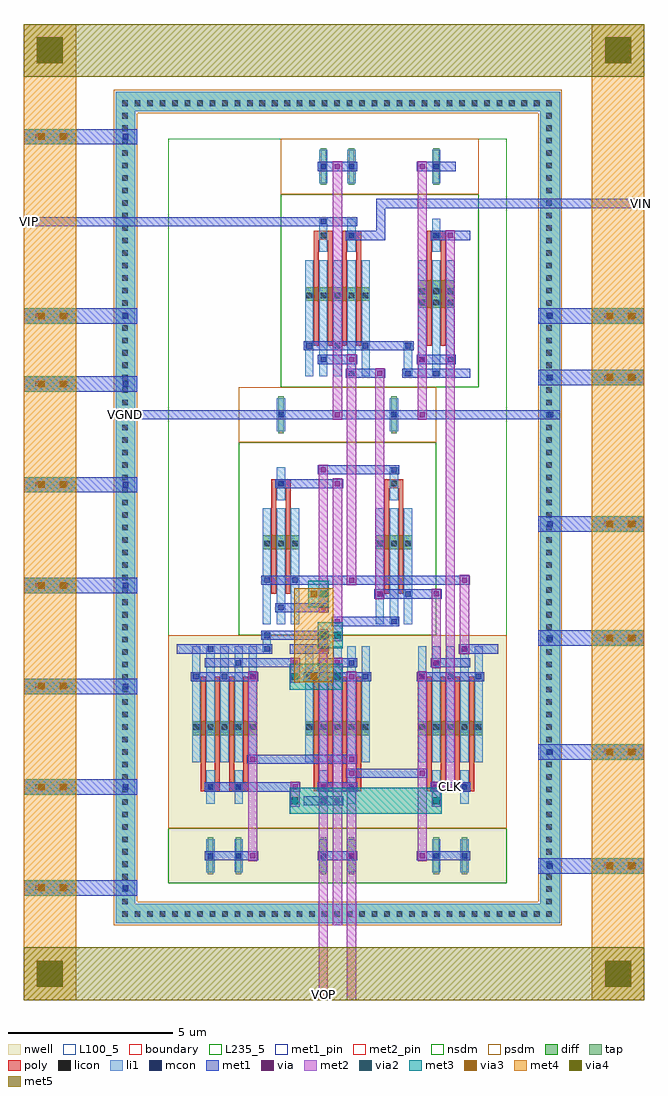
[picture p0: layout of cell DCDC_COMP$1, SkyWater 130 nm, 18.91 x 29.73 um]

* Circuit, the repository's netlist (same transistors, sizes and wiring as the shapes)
.subckt DCDC_COMP VPWR VGND VIN VIP VOP CLK
X0 VCM CLK VGND VGND  sky130_fd_pr__nfet_01v8 w=840000u l=150000u m=2
X1 VMP VIN VCM VGND  sky130_fd_pr__nfet_01v8 w=420000u l=150000u m=2
X2 VMN VIP VCM VGND  sky130_fd_pr__nfet_01v8 w=420000u l=150000u m=2
X3 VOP VON VMP VGND  sky130_fd_pr__nfet_01v8 w=420000u l=150000u m=2
X4 VON VOP VMN VGND  sky130_fd_pr__nfet_01v8 w=420000u l=150000u m=2
X5 VOP VON VPWR VPWR  sky130_fd_pr__pfet_01v8 w=420000u l=150000u m=2
X6 VON VOP VPWR VPWR  sky130_fd_pr__pfet_01v8 w=420000u l=150000u m=2
X7 VOP CLK VPWR VPWR  sky130_fd_pr__pfet_01v8 w=420000u l=150000u m=2
X8 VON CLK VPWR VPWR  sky130_fd_pr__pfet_01v8 w=420000u l=150000u m=2
X9 VMP CLK VPWR VPWR  sky130_fd_pr__pfet_01v8 w=420000u l=150000u m=2
X10 VMN CLK VPWR VPWR sky130_fd_pr__pfet_01v8 w=420000u l=150000u m=2
.ends DCDC_COMP

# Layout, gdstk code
from math import pi, radians
import gdstk
lib = gdstk.Library(unit=1e-6, precision=1e-09)
def R(c, l, rs):  # rectangles x0, y0, x1, y1
    for r in rs: c.add(gdstk.rectangle(r[:2], r[2:], *l))
def A(c, l, x, y, w, h, nx, ny, dx, dy):  # array of equal rectangles
    R(c, l, [(x+i*dx, y+j*dy, x+i*dx+w, y+j*dy+h) for i in range(nx) for j in range(ny)])
nwell = (64, 20)
diff = (65, 20)
tap = (65, 44)
poly = (66, 20)
licon = (66, 44)
li1 = (67, 20)
mcon = (67, 44)
met1_pin = (68, 16)
met1 = (68, 20)
via = (68, 44)
met2_pin = (69, 16)
met2 = (69, 20)
via2 = (69, 44)
met3 = (70, 20)
via3 = (70, 44)
met4 = (71, 20)
via4 = (71, 44)
met5 = (72, 20)
nsdm = (93, 44)
psdm = (94, 20)
L100_5 = (100, 5)
boundary = (235, 4)
L235_5 = (235, 5)

ccp_pmos_58853955_x1_y1_ = lib.new_cell('CCP_PMOS_58853955_X1_Y1_1653158392$1')
R(ccp_pmos_58853955_x1_y1_, nwell, [(0,0,3.44,7.56)])
R(ccp_pmos_58853955_x1_y1_, diff, [(0.735,2.625,2.705,3.045)])
R(ccp_pmos_58853955_x1_y1_, tap, [(1.205,6.16,1.375,7.28), (2.065,6.16,2.235,7.28)])
A(ccp_pmos_58853955_x1_y1_, poly, 1, 1.26, 0.15, 3.36, 4, 1, 0.43, 0)
R(ccp_pmos_58853955_x1_y1_, poly, [(1,4.485,1.58,4.755), (1.86,4.485,2.44,4.755)])
A(ccp_pmos_58853955_x1_y1_, licon, 0.775, 2.705, 0.17, 0.17, 3, 1, 0.43, 0)
A(ccp_pmos_58853955_x1_y1_, licon, 1.635, 2.705, 0.17, 0.17, 3, 1, 0.43, 0)
R(ccp_pmos_58853955_x1_y1_, licon, [(1.205,4.535,1.375,4.705), (2.065,4.535,2.235,4.705), (1.205,6.635,1.375,6.805), (2.065,6.635,2.235,6.805)])
A(ccp_pmos_58853955_x1_y1_, li1, 0.735, 0.335, 0.25, 3.53, 5, 1, 0.43, 0)
R(ccp_pmos_58853955_x1_y1_, li1, [(1.165,4.115,1.415,5.125), (2.025,4.115,2.275,5.125), (1.165,6.215,1.415,7.225), (2.025,6.215,2.275,7.225)])
A(ccp_pmos_58853955_x1_y1_, mcon, 0.775, 1.175, 0.17, 0.17, 3, 1, 0.86, 0)
R(ccp_pmos_58853955_x1_y1_, mcon, [(1.205,0.335,1.375,0.505), (2.065,0.755,2.235,0.925), (2.065,4.535,2.235,4.705), (1.205,4.955,1.375,5.125), (1.205,6.635,1.375,6.805), (2.065,6.635,2.235,6.805)])
R(ccp_pmos_58853955_x1_y1_, met1, [(0.26,0.28,1.46,0.56), (1.12,0.7,2.32,0.98), (0.69,1.12,2.75,1.4), (1.12,4.48,2.32,4.76), (0.69,4.9,1.89,5.18), (1.12,6.58,2.32,6.86)])
R(ccp_pmos_58853955_x1_y1_, via, [(1.215,0.345,1.365,0.495), (1.645,0.765,1.795,0.915), (2.075,1.185,2.225,1.335), (1.215,4.545,1.365,4.695), (1.645,4.965,1.795,5.115), (2.075,6.645,2.225,6.795)])
R(ccp_pmos_58853955_x1_y1_, met2, [(1.15,0.26,1.43,11.11), (1.58,0.68,1.86,8.835), (2.01,1.1,2.29,11.11)])
R(ccp_pmos_58853955_x1_y1_, nsdm, [(0,5.88,3.44,7.56)])
R(ccp_pmos_58853955_x1_y1_, psdm, [(0,0,3.44,5.88)])
R(ccp_pmos_58853955_x1_y1_, L100_5, [(0,0,3.44,7.56)])

cmc_pmos_23131506_x1_y1_ = lib.new_cell('CMC_PMOS_23131506_X1_Y1_1653158394$1')
R(cmc_pmos_23131506_x1_y1_, nwell, [(0,0,3.44,7.56)])
R(cmc_pmos_23131506_x1_y1_, diff, [(0.735,2.625,2.705,3.045)])
R(cmc_pmos_23131506_x1_y1_, tap, [(1.205,6.16,1.375,7.28), (2.065,6.16,2.235,7.28)])
A(cmc_pmos_23131506_x1_y1_, poly, 1, 1.26, 0.15, 3.36, 4, 1, 0.43, 0)
R(cmc_pmos_23131506_x1_y1_, poly, [(1,4.485,1.58,4.755), (1.86,4.485,2.44,4.755)])
A(cmc_pmos_23131506_x1_y1_, licon, 0.775, 2.705, 0.17, 0.17, 3, 1, 0.43, 0)
A(cmc_pmos_23131506_x1_y1_, licon, 1.635, 2.705, 0.17, 0.17, 3, 1, 0.43, 0)
R(cmc_pmos_23131506_x1_y1_, licon, [(1.205,4.535,1.375,4.705), (2.065,4.535,2.235,4.705), (1.205,6.635,1.375,6.805), (2.065,6.635,2.235,6.805)])
A(cmc_pmos_23131506_x1_y1_, li1, 0.735, 0.335, 0.25, 3.53, 5, 1, 0.43, 0)
R(cmc_pmos_23131506_x1_y1_, li1, [(1.165,4.115,1.415,5.125), (2.025,4.115,2.275,5.125), (1.165,6.215,1.415,7.225), (2.025,6.215,2.275,7.225)])
A(cmc_pmos_23131506_x1_y1_, mcon, 0.775, 1.175, 0.17, 0.17, 3, 1, 0.86, 0)
R(cmc_pmos_23131506_x1_y1_, mcon, [(1.205,0.335,1.375,0.505), (2.065,0.755,2.235,0.925), (1.205,4.535,1.375,4.705), (2.065,4.535,2.235,4.705), (1.205,6.635,1.375,6.805), (2.065,6.635,2.235,6.805)])
R(cmc_pmos_23131506_x1_y1_, met1, [(0.26,0.28,1.46,0.56), (1.12,0.7,2.32,0.98), (0.69,1.12,2.75,1.4), (1.12,4.48,2.32,4.76), (1.12,6.58,2.75,6.86)])
R(cmc_pmos_23131506_x1_y1_, via, [(2.505,1.185,2.655,1.335), (2.505,6.645,2.655,6.795)])
R(cmc_pmos_23131506_x1_y1_, met2, [(2.44,1.1,2.72,6.88)])
R(cmc_pmos_23131506_x1_y1_, nsdm, [(0,5.88,3.44,7.56)])
R(cmc_pmos_23131506_x1_y1_, psdm, [(0,0,3.44,5.88)])
R(cmc_pmos_23131506_x1_y1_, L100_5, [(0,0,3.44,7.56)])

ccp_s_nmos_b_5782581_x1_ = lib.new_cell('CCP_S_NMOS_B_5782581_X1_Y1_1653158393$1')
R(ccp_s_nmos_b_5782581_x1_, diff, [(0.735,2.625,1.845,3.045), (4.175,2.625,5.285,3.045)])
R(ccp_s_nmos_b_5782581_x1_, tap, [(1.205,6.16,1.375,7.28), (4.645,6.16,4.815,7.28)])
R(ccp_s_nmos_b_5782581_x1_, poly, [(1,1.26,1.15,4.62), (1.43,1.26,1.58,4.62), (4.44,1.26,4.59,4.62), (4.87,1.26,5.02,4.62), (1,4.485,1.58,4.755), (4.44,4.485,5.02,4.755)])
A(ccp_s_nmos_b_5782581_x1_, licon, 0.775, 2.705, 0.17, 0.17, 3, 1, 0.43, 0)
A(ccp_s_nmos_b_5782581_x1_, licon, 4.215, 2.705, 0.17, 0.17, 3, 1, 0.43, 0)
R(ccp_s_nmos_b_5782581_x1_, licon, [(1.205,4.535,1.375,4.705), (4.645,4.535,4.815,4.705), (1.205,6.635,1.375,6.805), (4.645,6.635,4.815,6.805)])
A(ccp_s_nmos_b_5782581_x1_, li1, 0.735, 0.335, 0.25, 3.53, 3, 1, 0.43, 0)
A(ccp_s_nmos_b_5782581_x1_, li1, 4.175, 0.335, 0.25, 3.53, 3, 1, 0.43, 0)
R(ccp_s_nmos_b_5782581_x1_, li1, [(1.165,4.115,1.415,5.125), (4.605,4.115,4.855,5.125), (1.165,6.215,1.415,7.225), (4.605,6.215,4.855,7.225)])
R(ccp_s_nmos_b_5782581_x1_, mcon, [(1.205,0.335,1.375,0.505), (4.645,0.755,4.815,0.925), (0.775,1.175,0.945,1.345), (1.635,1.175,1.805,1.345), (4.215,1.595,4.385,1.765), (5.075,1.595,5.245,1.765), (4.645,4.535,4.815,4.705), (1.205,4.955,1.375,5.125), (1.205,6.635,1.375,6.805), (4.645,6.635,4.815,6.805)])
R(ccp_s_nmos_b_5782581_x1_, met1, [(1.12,0.28,3.18,0.56), (3.27,0.7,4.9,0.98), (0.69,1.12,1.89,1.4), (4.13,1.54,5.33,1.82), (2.84,4.48,4.9,4.76), (1.12,4.9,3.61,5.18), (1.115,6.58,9.77,6.86)])
R(ccp_s_nmos_b_5782581_x1_, via, [(2.935,0.345,3.085,0.495), (3.365,0.765,3.515,0.915), (2.935,4.545,3.085,4.695), (3.365,4.965,3.515,5.115)])
R(ccp_s_nmos_b_5782581_x1_, met2, [(2.87,0.26,3.15,4.78), (3.3,0.68,3.58,5.2)])
R(ccp_s_nmos_b_5782581_x1_, nsdm, [(0,0,6.02,5.88)])
R(ccp_s_nmos_b_5782581_x1_, psdm, [(0,5.88,6.02,7.56)])
R(ccp_s_nmos_b_5782581_x1_, L100_5, [(0,0,6.02,7.56)])

dp_nmos_b_93310865_x1_y1 = lib.new_cell('DP_NMOS_B_93310865_X1_Y1_1653158395$1')
R(dp_nmos_b_93310865_x1_y1, diff, [(0.735,2.625,2.705,3.045)])
R(dp_nmos_b_93310865_x1_y1, tap, [(1.205,6.16,1.375,7.28), (2.065,6.16,2.235,7.28)])
A(dp_nmos_b_93310865_x1_y1, poly, 1, 1.26, 0.15, 3.36, 4, 1, 0.43, 0)
R(dp_nmos_b_93310865_x1_y1, poly, [(1,4.485,1.58,4.755), (1.86,4.485,2.44,4.755)])
A(dp_nmos_b_93310865_x1_y1, licon, 0.775, 2.705, 0.17, 0.17, 3, 1, 0.43, 0)
A(dp_nmos_b_93310865_x1_y1, licon, 1.635, 2.705, 0.17, 0.17, 3, 1, 0.43, 0)
R(dp_nmos_b_93310865_x1_y1, licon, [(1.205,4.535,1.375,4.705), (2.065,4.535,2.235,4.705), (1.205,6.635,1.375,6.805), (2.065,6.635,2.235,6.805)])
A(dp_nmos_b_93310865_x1_y1, li1, 0.735, 0.335, 0.25, 3.53, 5, 1, 0.43, 0)
R(dp_nmos_b_93310865_x1_y1, li1, [(1.165,4.115,1.415,5.125), (2.025,4.115,2.275,5.125), (1.165,6.215,1.415,7.225), (2.025,6.215,2.275,7.225)])
A(dp_nmos_b_93310865_x1_y1, mcon, 0.775, 1.175, 0.17, 0.17, 3, 1, 0.86, 0)
R(dp_nmos_b_93310865_x1_y1, mcon, [(1.205,0.335,1.375,0.505), (2.065,0.755,2.235,0.925), (1.205,4.535,1.375,4.705), (2.065,4.955,2.235,5.125), (1.205,6.635,1.375,6.805), (2.065,6.635,2.235,6.805)])
R(dp_nmos_b_93310865_x1_y1, met1, [(0.26,0.28,1.46,0.56), (1.12,0.7,2.32,0.98), (0.69,1.12,2.75,1.4), (0.26,4.48,1.46,4.76), (1.12,4.9,2.32,5.18), (1.12,6.58,2.32,6.86)])
R(dp_nmos_b_93310865_x1_y1, nsdm, [(0,0,3.44,5.88)])
R(dp_nmos_b_93310865_x1_y1, psdm, [(0,5.88,3.44,7.56)])
R(dp_nmos_b_93310865_x1_y1, L100_5, [(0,0,3.44,7.56)])

nmos_s_93862694_x1_y1_16 = lib.new_cell('NMOS_S_93862694_X1_Y1_1653158396$1')
R(nmos_s_93862694_x1_y1_16, diff, [(0.735,2.415,1.845,3.255)])
R(nmos_s_93862694_x1_y1_16, tap, [(1.205,6.16,1.375,7.28)])
R(nmos_s_93862694_x1_y1_16, poly, [(1,1.26,1.15,4.62), (1.43,1.26,1.58,4.62), (1,4.485,1.58,4.755)])
A(nmos_s_93862694_x1_y1_16, licon, 0.775, 2.495, 0.17, 0.17, 3, 2, 0.43, 0.34)
R(nmos_s_93862694_x1_y1_16, licon, [(1.205,4.535,1.375,4.705), (1.205,6.635,1.375,6.805)])
A(nmos_s_93862694_x1_y1_16, li1, 0.735, 0.335, 0.25, 3.53, 3, 1, 0.43, 0)
R(nmos_s_93862694_x1_y1_16, li1, [(1.165,4.115,1.415,5.125), (1.165,6.215,1.415,7.225)])
R(nmos_s_93862694_x1_y1_16, mcon, [(1.205,0.335,1.375,0.505), (0.775,0.755,0.945,0.925), (1.635,0.755,1.805,0.925), (1.205,4.535,1.375,4.705), (1.205,6.635,1.375,6.805)])
R(nmos_s_93862694_x1_y1_16, met1, [(0.26,0.28,1.46,0.56), (0.69,0.7,1.89,0.98), (0.26,4.48,1.46,4.76), (0.69,6.58,1.89,6.86)])
R(nmos_s_93862694_x1_y1_16, via, [(1.645,0.765,1.795,0.915), (1.645,6.645,1.795,6.795)])
R(nmos_s_93862694_x1_y1_16, met2, [(1.58,0.68,1.86,6.88)])
R(nmos_s_93862694_x1_y1_16, nsdm, [(0,0,2.58,5.88)])
R(nmos_s_93862694_x1_y1_16, psdm, [(0,5.88,2.58,7.56)])
R(nmos_s_93862694_x1_y1_16, L100_5, [(0,0,2.58,7.56)])

dcdc_comp_1 = lib.new_cell('DCDC_COMP$1')
R(dcdc_comp_1, tap, [(2.804,2.383,16.344,2.983), (2.804,2.383,3.404,27.713), (15.744,2.383,16.344,27.713), (2.804,27.113,16.344,27.713)])
A(dcdc_comp_1, licon, 3.009, 2.578, 0.17, 0.17, 13, 2, 0.38, 24.7)
A(dcdc_comp_1, licon, 15.929, 2.578, 0.17, 0.17, 1, 66, 0, 0.38)
A(dcdc_comp_1, licon, 3.009, 2.958, 0.17, 0.17, 1, 64, 0, 0.38)
R(dcdc_comp_1, licon, [(7.569,2.578,7.739,2.748), (7.949,2.578,8.119,2.748), (7.949,2.578,8.119,2.748), (8.329,2.578,8.499,2.748), (8.329,2.578,8.499,2.748), (8.709,2.578,8.879,2.748), (8.709,2.578,8.879,2.748), (9.089,2.578,9.259,2.748), (9.089,2.578,9.259,2.748), (9.469,2.578,9.639,2.748), (9.469,2.578,9.639,2.748), (9.849,2.578,10.019,2.748), (9.849,2.578,10.019,2.748), (10.229,2.578,10.399,2.748), (10.229,2.578,10.399,2.748), (10.609,2.578,10.779,2.748), (10.609,2.578,10.779,2.748), (10.989,2.578,11.159,2.748), (10.989,2.578,11.159,2.748), (11.369,2.578,11.539,2.748), (11.369,2.578,11.539,2.748), (11.749,2.578,11.919,2.748), (11.749,2.578,11.919,2.748), (12.129,2.578,12.299,2.748), (12.129,2.578,12.299,2.748), (12.509,2.578,12.679,2.748), (12.509,2.578,12.679,2.748), (12.889,2.578,13.059,2.748), (12.889,2.578,13.059,2.748), (13.269,2.578,13.439,2.748), (13.269,2.578,13.439,2.748), (13.649,2.578,13.819,2.748), (13.649,2.578,13.819,2.748), (14.029,2.578,14.199,2.748), (14.029,2.578,14.199,2.748), (14.409,2.578,14.579,2.748), (14.409,2.578,14.579,2.748), (14.789,2.578,14.959,2.748), (14.789,2.578,14.959,2.748), (15.169,2.578,15.339,2.748), (15.169,2.578,15.339,2.748), (15.549,2.578,15.719,2.748), (15.549,2.578,15.719,2.748), (15.929,2.578,16.099,2.748), (15.929,2.578,16.099,2.748), (7.569,27.278,7.739,27.448), (7.949,27.278,8.119,27.448), (7.949,27.278,8.119,27.448), (8.329,27.278,8.499,27.448), (8.329,27.278,8.499,27.448), (8.709,27.278,8.879,27.448), (8.709,27.278,8.879,27.448), (9.089,27.278,9.259,27.448), (9.089,27.278,9.259,27.448), (9.469,27.278,9.639,27.448), (9.469,27.278,9.639,27.448), (9.849,27.278,10.019,27.448), (9.849,27.278,10.019,27.448), (10.229,27.278,10.399,27.448), (10.229,27.278,10.399,27.448), (10.609,27.278,10.779,27.448), (10.609,27.278,10.779,27.448), (10.989,27.278,11.159,27.448), (10.989,27.278,11.159,27.448), (11.369,27.278,11.539,27.448), (11.369,27.278,11.539,27.448), (11.749,27.278,11.919,27.448), (11.749,27.278,11.919,27.448), (12.129,27.278,12.299,27.448), (12.129,27.278,12.299,27.448), (12.509,27.278,12.679,27.448), (12.509,27.278,12.679,27.448), (12.889,27.278,13.059,27.448), (12.889,27.278,13.059,27.448), (13.269,27.278,13.439,27.448), (13.269,27.278,13.439,27.448), (13.649,27.278,13.819,27.448), (13.649,27.278,13.819,27.448), (14.029,27.278,14.199,27.448), (14.029,27.278,14.199,27.448), (14.409,27.278,14.579,27.448), (14.409,27.278,14.579,27.448), (14.789,27.278,14.959,27.448), (14.789,27.278,14.959,27.448), (15.169,27.278,15.339,27.448), (15.169,27.278,15.339,27.448), (15.549,27.278,15.719,27.448), (15.549,27.278,15.719,27.448), (15.929,27.278,16.099,27.448), (15.929,27.278,16.099,27.448)])
R(dcdc_comp_1, li1, [(2.804,2.383,16.344,2.983), (2.804,2.383,3.404,27.713), (15.744,2.383,16.344,27.713), (7.289,10.653,7.539,10.823), (7.289,10.653,7.539,10.823), (7.289,10.653,7.539,10.823), (7.289,10.653,7.539,10.823), (7.289,10.738,7.539,11.158), (7.289,11.073,7.539,11.243), (7.289,11.073,7.539,11.243), (7.289,11.073,7.539,11.243), (7.289,11.073,7.539,11.243), (11.589,19.053,11.839,19.223), (11.589,19.053,11.839,19.223), (11.589,19.138,11.839,19.978), (11.589,19.893,11.839,20.063), (11.589,19.893,11.839,20.063), (2.804,27.113,16.344,27.713)])
A(dcdc_comp_1, mcon, 3.024, 3.378, 0.17, 0.17, 1, 6, 0, 3.07)
A(dcdc_comp_1, mcon, 15.954, 4.048, 0.17, 0.17, 1, 4, 0, 3.47)
R(dcdc_comp_1, mcon, [(7.329,10.653,7.499,10.823), (7.329,10.653,7.499,10.823), (7.329,10.653,7.499,10.823), (7.329,10.653,7.499,10.823), (7.329,11.073,7.499,11.243), (7.329,11.073,7.499,11.243), (7.329,11.073,7.499,11.243), (7.329,11.073,7.499,11.243), (3.009,17.798,3.179,17.968), (15.969,17.798,16.139,17.968), (15.954,18.928,16.124,19.098), (11.629,19.053,11.799,19.223), (11.629,19.053,11.799,19.223), (11.629,19.893,11.799,20.063), (11.629,19.893,11.799,20.063), (3.024,20.798,3.194,20.968), (15.954,20.798,16.124,20.968), (3.024,26.258,3.194,26.428)])
R(dcdc_comp_1, met1_pin, [(12.994,6.528,13.014,6.548), (0.179,23.743,0.199,23.763), (18.804,24.293,18.824,24.313)])
A(dcdc_comp_1, met1, 0.004, 3.228, 3.46, 0.47, 1, 6, 0, 3.07)
A(dcdc_comp_1, met1, 15.684, 3.898, 3.23, 0.47, 1, 4, 0, 3.47)
R(dcdc_comp_1, met1, [(6.554,6.398,8.274,6.678), (8.114,6.398,8.434,6.678), (8.114,6.398,8.434,6.678), (8.114,6.398,8.434,6.678), (8.114,6.398,8.434,6.678), (12.414,6.398,12.734,6.678), (12.414,6.398,12.734,6.678), (12.414,6.398,12.734,6.678), (12.414,6.398,12.734,6.678), (12.844,6.398,13.164,6.678), (12.844,6.398,13.164,6.678), (9.834,6.818,10.154,7.098), (9.834,6.818,10.154,7.098), (9.834,6.818,10.154,7.098), (9.834,6.818,10.154,7.098), (9.994,6.818,12.144,7.098), (11.984,6.818,12.304,7.098), (11.984,6.818,12.304,7.098), (11.984,6.818,12.304,7.098), (11.984,6.818,12.304,7.098), (6.824,7.238,7.144,7.518), (6.824,7.238,7.144,7.518), (6.984,7.238,9.994,7.518), (9.834,7.238,10.154,7.518), (9.834,7.238,10.154,7.518), (6.554,10.178,8.274,10.458), (8.114,10.178,8.434,10.458), (8.114,10.178,8.434,10.458), (8.114,10.178,8.434,10.458), (8.114,10.178,8.434,10.458), (12.414,10.178,12.734,10.458), (12.414,10.178,12.734,10.458), (12.414,10.178,12.734,10.458), (12.414,10.178,12.734,10.458), (5.694,10.598,7.414,10.878), (7.244,10.598,7.584,10.878), (7.244,10.598,7.584,10.878), (7.244,10.598,7.584,10.878), (7.244,10.598,7.584,10.878), (13.274,10.598,13.594,10.878), (13.274,10.598,13.594,10.878), (13.274,10.598,13.594,10.878), (13.274,10.598,13.594,10.878), (7.244,11.018,7.584,11.298), (7.244,11.018,7.584,11.298), (7.244,11.018,7.584,11.298), (7.244,11.018,7.584,11.298), (7.414,11.018,9.134,11.298), (8.974,11.018,9.294,11.298), (8.974,11.018,9.294,11.298), (8.974,11.018,9.294,11.298), (8.974,11.018,9.294,11.298), (10.694,12.278,11.014,12.558), (10.694,12.278,11.014,12.558), (11.714,12.278,12.574,12.558), (12.414,12.278,12.734,12.558), (12.414,12.278,12.734,12.558), (12.414,12.278,12.734,12.558), (12.414,12.278,12.734,12.558), (8.274,12.698,13.434,12.978), (9.834,12.698,10.154,12.978), (9.834,12.698,10.154,12.978), (13.274,12.698,13.594,12.978), (13.274,12.698,13.594,12.978), (13.274,12.698,13.594,12.978), (13.274,12.698,13.594,12.978), (9.404,17.738,9.724,18.018), (9.404,17.738,9.724,18.018), (9.404,17.738,9.724,18.018), (9.404,17.738,9.724,18.018), (11.284,17.738,12.144,18.018), (11.984,17.738,12.304,18.018), (11.986,17.738,16.344,18.018), (15.684,18.778,18.914,19.248), (10.694,18.998,11.014,19.278), (10.694,18.998,11.014,19.278), (11.544,18.998,11.884,19.278), (11.544,18.998,11.884,19.278), (11.714,18.998,12.574,19.278), (9.834,19.418,10.154,19.698), (9.834,19.418,10.154,19.698), (10.424,19.838,11.714,20.118), (11.544,19.838,11.884,20.118), (11.544,19.838,11.884,20.118), (0.004,20.648,3.464,21.118), (15.684,20.648,18.914,21.118), (10.744,23.198,11.024,24.453), (12.844,23.198,13.164,23.478), (12.844,23.198,13.164,23.478), (0.004,23.618,9.517,23.898), (10.744,24.173,18.914,24.453), (9.404,25.298,9.724,25.578), (9.404,25.298,9.724,25.578), (9.404,25.298,9.724,25.578), (9.404,25.298,9.724,25.578), (0.004,26.108,3.464,26.578)])
A(dcdc_comp_1, via, 0.364, 3.398, 0.15, 0.15, 1, 6, 0, 3.07)
A(dcdc_comp_1, via, 1.209, 3.398, 0.15, 0.15, 1, 6, 0, 3.07)
A(dcdc_comp_1, via, 17.674, 4.068, 0.15, 0.15, 1, 4, 0, 3.47)
A(dcdc_comp_1, via, 18.519, 4.068, 0.15, 0.15, 1, 4, 0, 3.47)
R(dcdc_comp_1, via, [(8.199,6.463,8.349,6.613), (8.199,6.463,8.349,6.613), (8.199,6.463,8.349,6.613), (8.199,6.463,8.349,6.613), (12.499,6.463,12.649,6.613), (12.499,6.463,12.649,6.613), (12.499,6.463,12.649,6.613), (12.499,6.463,12.649,6.613), (12.929,6.463,13.079,6.613), (12.929,6.463,13.079,6.613), (9.919,6.883,10.069,7.033), (9.919,6.883,10.069,7.033), (9.919,6.883,10.069,7.033), (9.919,6.883,10.069,7.033), (12.069,6.883,12.219,7.033), (12.069,6.883,12.219,7.033), (12.069,6.883,12.219,7.033), (12.069,6.883,12.219,7.033), (6.909,7.303,7.059,7.453), (6.909,7.303,7.059,7.453), (9.919,7.303,10.069,7.453), (9.919,7.303,10.069,7.453), (8.199,10.243,8.349,10.393), (8.199,10.243,8.349,10.393), (8.199,10.243,8.349,10.393), (8.199,10.243,8.349,10.393), (12.499,10.243,12.649,10.393), (12.499,10.243,12.649,10.393), (12.499,10.243,12.649,10.393), (12.499,10.243,12.649,10.393), (13.359,10.663,13.509,10.813), (13.359,10.663,13.509,10.813), (13.359,10.663,13.509,10.813), (13.359,10.663,13.509,10.813), (9.059,11.083,9.209,11.233), (9.059,11.083,9.209,11.233), (9.059,11.083,9.209,11.233), (9.059,11.083,9.209,11.233), (10.779,12.343,10.929,12.493), (10.779,12.343,10.929,12.493), (12.499,12.343,12.649,12.493), (12.499,12.343,12.649,12.493), (12.499,12.343,12.649,12.493), (12.499,12.343,12.649,12.493), (9.919,12.763,10.069,12.913), (9.919,12.763,10.069,12.913), (13.359,12.763,13.509,12.913), (13.359,12.763,13.509,12.913), (13.359,12.763,13.509,12.913), (13.359,12.763,13.509,12.913), (9.489,17.803,9.639,17.953), (9.489,17.803,9.639,17.953), (9.489,17.803,9.639,17.953), (9.489,17.803,9.639,17.953), (12.069,17.803,12.219,17.953), (12.069,17.803,12.219,17.953), (17.674,18.948,17.824,19.098), (18.519,18.948,18.669,19.098), (10.779,19.063,10.929,19.213), (10.779,19.063,10.929,19.213), (9.919,19.483,10.069,19.633), (9.919,19.483,10.069,19.633), (0.364,20.818,0.514,20.968), (1.209,20.818,1.359,20.968), (17.674,20.818,17.824,20.968), (18.519,20.818,18.669,20.968), (12.929,23.263,13.079,23.413), (12.929,23.263,13.079,23.413), (9.489,25.363,9.639,25.513), (9.489,25.363,9.639,25.513), (9.489,25.363,9.639,25.513), (9.489,25.363,9.639,25.513), (0.364,26.278,0.514,26.428), (1.209,26.278,1.359,26.428)])
R(dcdc_comp_1, met2_pin, [(9.124,0.208,9.144,0.228), (9.984,0.208,10.004,0.228), (9.984,0.208,10.004,0.228)])
A(dcdc_comp_1, met2, 0.004, 3.228, 1.6, 0.47, 1, 6, 0, 3.07)
A(dcdc_comp_1, met2, 17.314, 3.898, 1.6, 0.47, 1, 4, 0, 3.47)
R(dcdc_comp_1, met2, [(8.134,5.933,8.414,6.303), (8.134,5.933,8.414,6.303), (8.134,5.933,8.414,6.303), (8.134,5.933,8.414,6.303), (12.434,5.933,12.714,6.303), (12.434,5.933,12.714,6.303), (12.434,5.933,12.714,6.303), (12.434,5.933,12.714,6.303), (8.134,6.118,8.414,6.538), (12.434,6.118,12.714,6.538), (8.134,6.378,8.414,6.698), (8.134,6.378,8.414,6.698), (8.134,6.378,8.414,6.698), (8.134,6.378,8.414,6.698), (12.434,6.378,12.714,6.698), (12.434,6.378,12.714,6.698), (12.434,6.378,12.714,6.698), (12.434,6.378,12.714,6.698), (12.864,6.378,13.144,6.698), (12.864,6.378,13.144,6.698), (12.864,6.538,13.144,23.338), (9.854,6.798,10.134,7.118), (9.854,6.798,10.134,7.118), (9.854,6.798,10.134,7.118), (9.854,6.798,10.134,7.118), (12.004,6.798,12.284,7.118), (12.004,6.798,12.284,7.118), (12.004,6.798,12.284,7.118), (12.004,6.798,12.284,7.118), (6.844,7.218,7.124,7.538), (6.844,7.218,7.124,7.538), (9.854,7.218,10.134,7.538), (9.854,7.218,10.134,7.538), (8.134,9.713,8.414,10.083), (8.134,9.713,8.414,10.083), (8.134,9.713,8.414,10.083), (8.134,9.713,8.414,10.083), (9.424,9.713,9.704,10.083), (9.424,9.713,9.704,10.083), (9.424,9.713,9.704,10.083), (9.424,9.713,9.704,10.083), (8.134,9.898,8.414,10.318), (8.134,10.158,8.414,10.478), (8.134,10.158,8.414,10.478), (8.134,10.158,8.414,10.478), (8.134,10.158,8.414,10.478), (12.434,10.158,12.714,10.478), (12.434,10.158,12.714,10.478), (12.434,10.158,12.714,10.478), (12.434,10.158,12.714,10.478), (12.434,10.318,12.714,12.418), (13.294,10.578,13.574,10.898), (13.294,10.578,13.574,10.898), (13.294,10.578,13.574,10.898), (13.294,10.578,13.574,10.898), (8.994,10.738,9.274,11.158), (13.294,10.738,13.574,12.838), (8.994,10.973,9.274,11.343), (8.994,10.973,9.274,11.343), (9.424,10.973,9.704,11.343), (9.424,10.973,9.704,11.343), (8.994,10.998,9.274,11.318), (8.994,10.998,9.274,11.318), (8.994,10.998,9.274,11.318), (8.994,10.998,9.274,11.318), (9.424,11.158,9.704,11.578), (8.994,12.233,9.274,12.603), (10.714,12.258,10.994,12.578), (10.714,12.258,10.994,12.578), (12.434,12.258,12.714,12.578), (12.434,12.258,12.714,12.578), (12.434,12.258,12.714,12.578), (12.434,12.258,12.714,12.578), (10.714,12.418,10.994,19.138), (9.854,12.678,10.134,12.998), (9.854,12.678,10.134,12.998), (13.294,12.678,13.574,12.998), (13.294,12.678,13.574,12.998), (13.294,12.678,13.574,12.998), (13.294,12.678,13.574,12.998), (9.854,12.838,10.134,19.558), (9.424,17.718,9.704,18.038), (9.424,17.718,9.704,18.038), (9.424,17.718,9.704,18.038), (9.424,17.718,9.704,18.038), (12.004,17.718,12.284,18.038), (12.004,17.718,12.284,18.038), (9.424,17.878,9.704,25.438), (12.004,17.878,12.284,19.558), (17.314,18.778,18.914,19.248), (10.714,18.978,10.994,19.298), (10.714,18.978,10.994,19.298), (9.854,19.398,10.134,19.718), (9.854,19.398,10.134,19.718), (0.004,20.648,1.604,21.118), (17.314,20.648,18.914,21.118), (12.864,23.178,13.144,23.498), (12.864,23.178,13.144,23.498), (9.424,25.278,9.704,25.598), (9.424,25.278,9.704,25.598), (9.424,25.278,9.704,25.598), (9.424,25.278,9.704,25.598), (0.004,26.108,1.604,26.578)])
A(dcdc_comp_1, via2, 0.454, 3.368, 0.2, 0.2, 1, 6, 0, 3.07)
A(dcdc_comp_1, via2, 1.104, 3.368, 0.2, 0.2, 1, 6, 0, 3.07)
A(dcdc_comp_1, via2, 17.764, 4.038, 0.2, 0.2, 1, 4, 0, 3.47)
A(dcdc_comp_1, via2, 18.414, 4.038, 0.2, 0.2, 1, 4, 0, 3.47)
R(dcdc_comp_1, via2, [(8.174,6.018,8.374,6.218), (8.174,6.018,8.374,6.218), (8.174,6.018,8.374,6.218), (8.174,6.018,8.374,6.218), (12.474,6.018,12.674,6.218), (12.474,6.018,12.674,6.218), (12.474,6.018,12.674,6.218), (12.474,6.018,12.674,6.218), (8.174,9.798,8.374,9.998), (8.174,9.798,8.374,9.998), (8.174,9.798,8.374,9.998), (8.174,9.798,8.374,9.998), (9.464,9.798,9.664,9.998), (9.464,9.798,9.664,9.998), (9.464,9.798,9.664,9.998), (9.464,9.798,9.664,9.998), (9.034,11.058,9.234,11.258), (9.034,11.058,9.234,11.258), (9.464,11.058,9.664,11.258), (9.464,11.058,9.664,11.258), (9.034,12.318,9.234,12.518), (17.764,18.918,17.964,19.118), (18.414,18.918,18.614,19.118), (0.454,20.788,0.654,20.988), (1.104,20.788,1.304,20.988), (17.764,20.788,17.964,20.988), (18.414,20.788,18.614,20.988), (0.454,26.248,0.654,26.448), (1.104,26.248,1.304,26.448)])
A(dcdc_comp_1, met3, 0.004, 3.228, 1.6, 0.47, 1, 6, 0, 3.07)
A(dcdc_comp_1, met3, 17.314, 3.898, 1.6, 0.47, 1, 4, 0, 3.47)
R(dcdc_comp_1, met3, [(8.109,5.718,8.439,6.518), (8.109,5.718,8.439,6.518), (8.109,5.718,8.439,6.518), (8.109,5.718,8.439,6.518), (8.274,5.718,12.574,6.518), (12.409,5.718,12.739,6.518), (12.409,5.718,12.739,6.518), (12.409,5.718,12.739,6.518), (12.409,5.718,12.739,6.518), (8.109,9.498,8.439,10.298), (8.109,9.498,8.439,10.298), (8.109,9.498,8.439,10.298), (8.109,9.498,8.439,10.298), (8.274,9.498,9.564,10.298), (8.679,9.498,9.009,10.298), (8.679,9.498,9.009,10.298), (9.399,9.498,9.729,10.298), (9.399,9.498,9.729,10.298), (9.399,9.498,9.729,10.298), (9.399,9.498,9.729,10.298), (8.969,10.758,9.299,11.558), (8.969,10.758,9.299,11.558), (9.134,10.758,9.564,11.558), (9.399,10.758,9.729,11.558), (9.399,10.758,9.729,11.558), (8.679,12.018,9.009,12.818), (8.839,12.018,9.139,12.818), (8.969,12.018,9.299,12.818), (17.314,18.778,18.914,19.248), (0.004,20.648,1.604,21.118), (17.314,20.648,18.914,21.118), (0.004,26.108,1.604,26.578)])
A(dcdc_comp_1, via3, 0.454, 3.368, 0.2, 0.2, 1, 6, 0, 3.07)
A(dcdc_comp_1, via3, 1.104, 3.368, 0.2, 0.2, 1, 6, 0, 3.07)
A(dcdc_comp_1, via3, 17.764, 4.038, 0.2, 0.2, 1, 4, 0, 3.47)
A(dcdc_comp_1, via3, 18.414, 4.038, 0.2, 0.2, 1, 4, 0, 3.47)
R(dcdc_comp_1, via3, [(8.744,9.798,8.944,9.998), (8.744,9.798,8.944,9.998), (8.744,12.318,8.944,12.518), (17.764,18.918,17.964,19.118), (18.414,18.918,18.614,19.118), (0.454,20.788,0.654,20.988), (1.104,20.788,1.304,20.988), (17.764,20.788,17.964,20.988), (18.414,20.788,18.614,20.988), (0.454,26.248,0.654,26.448), (1.104,26.248,1.304,26.448)])
R(dcdc_comp_1, met4, [(0.004,0.048,1.604,29.778), (17.314,0.048,18.914,29.778), (8.254,9.733,9.434,10.063), (8.254,9.733,9.434,10.063), (8.254,9.898,9.434,12.418), (8.254,12.253,9.434,12.583)])
R(dcdc_comp_1, via4, [(0.404,0.448,1.204,1.248), (17.714,0.448,18.514,1.248), (0.404,28.578,1.204,29.378), (17.714,28.578,18.514,29.378)])
R(dcdc_comp_1, met5, [(0.004,0.048,18.914,1.648), (0.004,28.178,18.914,29.778)])
R(dcdc_comp_1, psdm, [(2.744,2.323,16.404,3.043), (2.744,2.323,3.464,27.773), (15.684,2.323,16.404,27.773), (2.744,27.053,16.404,27.773)])
R(dcdc_comp_1, boundary, [(0.004,0.048,18.914,29.778)])
R(dcdc_comp_1, L235_5, [(4.404,3.598,14.724,26.278)])
dcdc_comp_1.add(gdstk.Reference(ccp_pmos_58853955_x1_y1_, (7.844,11.158), x_reflection=True))
dcdc_comp_1.add(gdstk.Reference(cmc_pmos_23131506_x1_y1_, (14.724,11.158), rotation=pi))
dcdc_comp_1.add(gdstk.Reference(cmc_pmos_23131506_x1_y1_, (4.404,11.158), x_reflection=True))
dcdc_comp_1.add(gdstk.Reference(ccp_s_nmos_b_5782581_x1_, (12.574,11.158), rotation=pi, x_reflection=True))
dcdc_comp_1.add(gdstk.Reference(dp_nmos_b_93310865_x1_y1, (11.284,18.718), rotation=pi, x_reflection=True))
dcdc_comp_1.add(gdstk.Reference(nmos_s_93862694_x1_y1_16, (13.864,18.718), rotation=pi, x_reflection=True))
dcdc_comp_1.add(gdstk.Label('VIN', (18.814,24.303), layer=68, texttype=5))
dcdc_comp_1.add(gdstk.Label('VIP', (0.189,23.753), layer=68, texttype=5))
dcdc_comp_1.add(gdstk.Label('VGND', (3.093,17.88), layer=68, texttype=5))
dcdc_comp_1.add(gdstk.Label('CLK', (13.004,6.538), layer=68, texttype=5))
dcdc_comp_1.add(gdstk.Label('VOP', (9.134,0.218), layer=69, texttype=5))
dcdc_comp_1.add(gdstk.Label('VPWR', (9.994,0.218), layer=69, texttype=5))

lib.write_gds('DCDC_COMP_1.gds')
